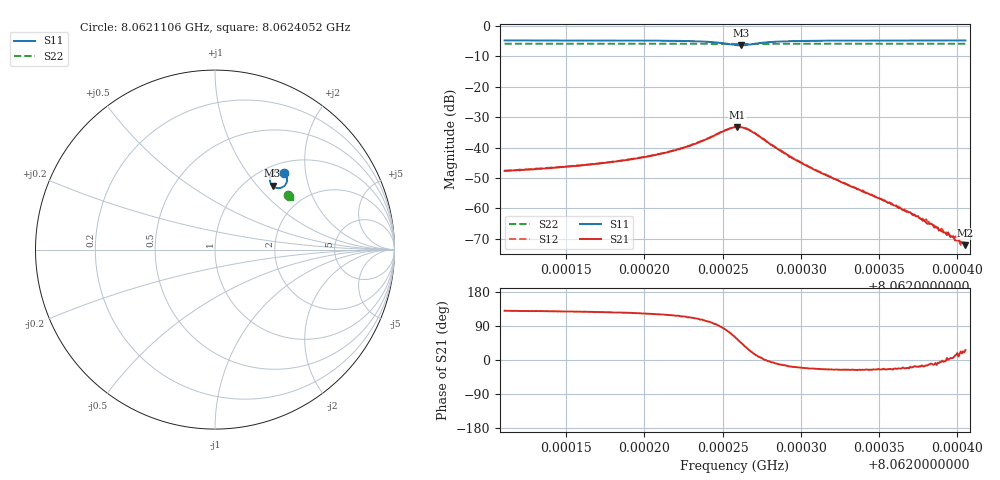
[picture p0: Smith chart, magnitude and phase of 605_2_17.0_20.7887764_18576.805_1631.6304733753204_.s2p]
#  HZ  S  RI  R  50.00
! Rohde & Schwarz Vector Network Analyzer
! Rohde-Schwarz,ZNB20-2Port,1311601062101988,3.16
! Created: UTC 3/20/2024, 11:19:11 PM
! freq[Hz]  re:S11  im:S11  re:S21  im:S21  re:S12  im:S12  re:S22  im:S22
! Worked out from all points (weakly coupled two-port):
!   401 points, 8.0621106 GHz to 8.0624052 GHz, reference 50 ohm
!   highest |S21| = -33.24 dB at 8.0622594 GHz (marker M1); lowest = -72.1 dB at 8.0624052 GHz (marker M2)
!   lowest |S11| = -6.4 dB at 8.0622616 GHz (marker M3), VSWR 2.84, Z = 65.6 + j60.5 ohm
!   |S11| at or under -10 dB: nowhere
!   |S22| runs from -6.0 to -5.9 dB; largest |S21 - S12| = 0.0013
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8.06211063e9  0.3848 0.4286  -0.00266 0.00317  -0.00247 0.00335  0.4067 0.3052
8.06215997e9  0.3902 0.4223  -0.00309 0.00404  -0.00288 0.00425  0.4085 0.3026
8.06219017e9  0.3947 0.416  -0.00356 0.00521  -0.00328 0.00547  0.4098 0.3009
8.06220931e9  0.3983 0.4087  -0.00394 0.0067  -0.00358 0.00699  0.4104 0.2995
8.0622292e9  0.4018 0.3931  -0.00408 0.0099  -0.00354 0.0102  0.4111 0.2978
8.06224687e9  0.3907 0.3595  -0.000524 0.0168  0.000467 0.017  0.4106 0.2957
8.06225792e9  0.342 0.3438  0.0107 0.0188  0.0117 0.0184  0.4086 0.2951
8.06225939e9  0.3329 0.3471  0.0125 0.0178  0.0136 0.0173  0.4084 0.2953
8.0622616e9  0.3208 0.3554  0.015 0.0155  0.0159 0.0149  0.4079 0.2959
8.06226823e9  0.3058 0.3926  0.0172 0.00697  0.0179 0.00609  0.4081 0.2973
8.06227854e9  0.3247 0.4284  0.0123 -0.000479  0.0123 -0.00108  0.4096 0.298
8.06229401e9  0.3506 0.4383  0.00659 -0.00203  0.00648 -0.00244  0.4115 0.2976
8.06230726e9  0.3622 0.4376  0.00419 -0.00175  0.00409 -0.00203  0.4124 0.2966
8.0623566e9  0.3794 0.4315  0.00114 -0.000504  0.0011 -0.000585  0.4147 0.2937
8.06237428e9  0.3825 0.4296  0.000706 -0.000225  0.000678 -0.000276  0.4156 0.2928
8.06238164e9  0.3834 0.429  0.000551 -0.000122  0.000577 -0.000182  0.4157 0.2924
8.06238754e9  0.3841 0.4283  0.000483 -6.12e-05  0.000469 -7.75e-05  0.4159 0.2921
8.06239122e9  0.3848 0.428  0.000401 -3.28e-05  0.000403 -8.44e-05  0.4161 0.2918
8.0623949e9  0.3852 0.4277  0.000369 1.81e-05  0.000363 2.69e-05  0.4162 0.2916
8.06239858e9  0.3856 0.4275  0.000292 5.99e-05  0.000331 3.53e-05  0.4164 0.2914
8.06240153e9  0.386 0.4271  0.000277 8.03e-05  0.000267 3.84e-05  0.4164 0.2912
8.06240521e9  0.3864 0.4268  0.000222 0.000109  0.000225 8.19e-05  0.4164 0.291
